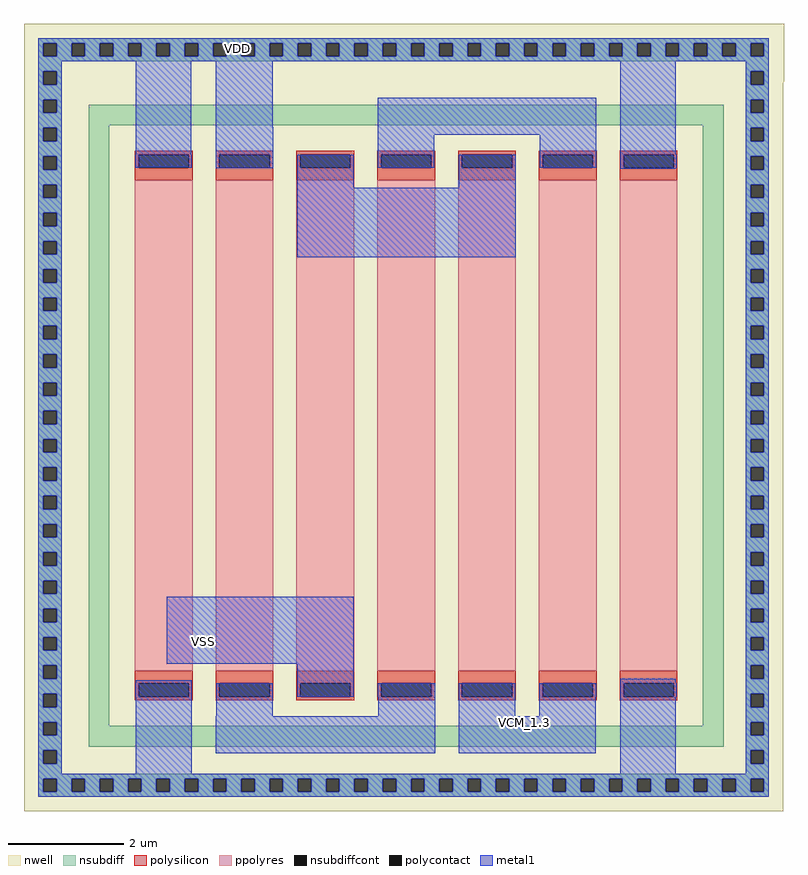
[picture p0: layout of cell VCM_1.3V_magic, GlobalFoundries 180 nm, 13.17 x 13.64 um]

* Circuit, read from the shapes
.subckt VCM_1.3V_magic VDD VSS VCM_1.3
XR1 VDD VDD VSUBS ppolyf_u r_width=1u r_length=8.5u m=2
XR2 VDD n1 VSUBS ppolyf_u r_width=1u r_length=8.5u
XR3 n2 VSS VSUBS ppolyf_u r_width=1u r_length=8.5u
XR4 n3 n1 VSUBS ppolyf_u r_width=1u r_length=8.5u
XR5 n2 VCM_1.3 VSUBS ppolyf_u r_width=1u r_length=8.5u
XR6 n3 VCM_1.3 VSUBS ppolyf_u r_width=1u r_length=8.5u
.ends

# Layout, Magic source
magic
tech gf180mcuC
magscale 1 10
<< nwell >>
rect -320 2207 2313 2408
rect -320 2152 2310 2207
rect -320 -120 -120 2152
rect 2128 -120 2310 2152
rect -320 -320 2310 -120
<< nsubdiff >>
rect -270 2341 2260 2358
rect -270 2295 -253 2341
rect -207 2295 -155 2341
rect -109 2295 -57 2341
rect -11 2295 41 2341
rect 87 2295 139 2341
rect 185 2295 237 2341
rect 283 2295 335 2341
rect 381 2295 433 2341
rect 479 2295 531 2341
rect 577 2295 629 2341
rect 675 2295 727 2341
rect 773 2295 825 2341
rect 871 2295 923 2341
rect 969 2295 1021 2341
rect 1067 2295 1119 2341
rect 1165 2295 1217 2341
rect 1263 2295 1315 2341
rect 1361 2295 1413 2341
rect 1459 2295 1511 2341
rect 1557 2295 1609 2341
rect 1655 2295 1707 2341
rect 1753 2295 1805 2341
rect 1851 2295 1903 2341
rect 1949 2295 2001 2341
rect 2047 2295 2099 2341
rect 2145 2295 2197 2341
rect 2243 2295 2260 2341
rect -270 2278 2260 2295
rect -270 2243 -190 2278
rect -270 2197 -253 2243
rect -207 2197 -190 2243
rect -270 2145 -190 2197
rect -270 2099 -253 2145
rect -207 2099 -190 2145
rect -270 2047 -190 2099
rect -270 2001 -253 2047
rect -207 2001 -190 2047
rect -270 1949 -190 2001
rect -270 1903 -253 1949
rect -207 1903 -190 1949
rect -270 1851 -190 1903
rect -270 1805 -253 1851
rect -207 1805 -190 1851
rect -270 1753 -190 1805
rect -270 1707 -253 1753
rect -207 1707 -190 1753
rect -270 1655 -190 1707
rect -270 1609 -253 1655
rect -207 1609 -190 1655
rect -270 1557 -190 1609
rect -270 1511 -253 1557
rect -207 1511 -190 1557
rect -270 1459 -190 1511
rect -270 1413 -253 1459
rect -207 1413 -190 1459
rect -270 1361 -190 1413
rect -270 1315 -253 1361
rect -207 1315 -190 1361
rect -270 1263 -190 1315
rect -270 1217 -253 1263
rect -207 1217 -190 1263
rect -270 1165 -190 1217
rect -270 1119 -253 1165
rect -207 1119 -190 1165
rect -270 1067 -190 1119
rect -270 1021 -253 1067
rect -207 1021 -190 1067
rect -270 969 -190 1021
rect -270 923 -253 969
rect -207 923 -190 969
rect -270 871 -190 923
rect -270 825 -253 871
rect -207 825 -190 871
rect -270 773 -190 825
rect -270 727 -253 773
rect -207 727 -190 773
rect -270 675 -190 727
rect -270 629 -253 675
rect -207 629 -190 675
rect -270 577 -190 629
rect -270 531 -253 577
rect -207 531 -190 577
rect -270 479 -190 531
rect -270 433 -253 479
rect -207 433 -190 479
rect -270 381 -190 433
rect -270 335 -253 381
rect -207 335 -190 381
rect -270 283 -190 335
rect -270 237 -253 283
rect -207 237 -190 283
rect -270 185 -190 237
rect -270 139 -253 185
rect -207 139 -190 185
rect -270 87 -190 139
rect -270 41 -253 87
rect -207 41 -190 87
rect -270 -11 -190 41
rect -270 -57 -253 -11
rect -207 -57 -190 -11
rect -270 -109 -190 -57
rect -270 -155 -253 -109
rect -207 -155 -190 -109
rect -270 -190 -190 -155
rect 2180 2243 2260 2278
rect 2180 2197 2197 2243
rect 2243 2197 2260 2243
rect 2180 2145 2260 2197
rect 2180 2099 2197 2145
rect 2243 2099 2260 2145
rect 2180 2047 2260 2099
rect 2180 2001 2197 2047
rect 2243 2001 2260 2047
rect 2180 1949 2260 2001
rect 2180 1903 2197 1949
rect 2243 1903 2260 1949
rect 2180 1851 2260 1903
rect 2180 1805 2197 1851
rect 2243 1805 2260 1851
rect 2180 1753 2260 1805
rect 2180 1707 2197 1753
rect 2243 1707 2260 1753
rect 2180 1655 2260 1707
rect 2180 1609 2197 1655
rect 2243 1609 2260 1655
rect 2180 1557 2260 1609
rect 2180 1511 2197 1557
rect 2243 1511 2260 1557
rect 2180 1459 2260 1511
rect 2180 1413 2197 1459
rect 2243 1413 2260 1459
rect 2180 1361 2260 1413
rect 2180 1315 2197 1361
rect 2243 1315 2260 1361
rect 2180 1263 2260 1315
rect 2180 1217 2197 1263
rect 2243 1217 2260 1263
rect 2180 1165 2260 1217
rect 2180 1119 2197 1165
rect 2243 1119 2260 1165
rect 2180 1067 2260 1119
rect 2180 1021 2197 1067
rect 2243 1021 2260 1067
rect 2180 969 2260 1021
rect 2180 923 2197 969
rect 2243 923 2260 969
rect 2180 871 2260 923
rect 2180 825 2197 871
rect 2243 825 2260 871
rect 2180 773 2260 825
rect 2180 727 2197 773
rect 2243 727 2260 773
rect 2180 675 2260 727
rect 2180 629 2197 675
rect 2243 629 2260 675
rect 2180 577 2260 629
rect 2180 531 2197 577
rect 2243 531 2260 577
rect 2180 479 2260 531
rect 2180 433 2197 479
rect 2243 433 2260 479
rect 2180 381 2260 433
rect 2180 335 2197 381
rect 2243 335 2260 381
rect 2180 283 2260 335
rect 2180 237 2197 283
rect 2243 237 2260 283
rect 2180 185 2260 237
rect 2180 139 2197 185
rect 2243 139 2260 185
rect 2180 87 2260 139
rect 2180 41 2197 87
rect 2243 41 2260 87
rect 2180 -11 2260 41
rect 2180 -57 2197 -11
rect 2243 -57 2260 -11
rect 2180 -109 2260 -57
rect 2180 -155 2197 -109
rect 2243 -155 2260 -109
rect 2180 -190 2260 -155
rect -270 -207 2260 -190
rect -270 -253 -253 -207
rect -207 -253 -155 -207
rect -109 -253 -57 -207
rect -11 -253 41 -207
rect 87 -253 139 -207
rect 185 -253 237 -207
rect 283 -253 335 -207
rect 381 -253 433 -207
rect 479 -253 531 -207
rect 577 -253 629 -207
rect 675 -253 727 -207
rect 773 -253 825 -207
rect 871 -253 923 -207
rect 969 -253 1021 -207
rect 1067 -253 1119 -207
rect 1165 -253 1217 -207
rect 1263 -253 1315 -207
rect 1361 -253 1413 -207
rect 1459 -253 1511 -207
rect 1557 -253 1609 -207
rect 1655 -253 1707 -207
rect 1753 -253 1805 -207
rect 1851 -253 1903 -207
rect 1949 -253 2001 -207
rect 2047 -253 2099 -207
rect 2145 -253 2197 -207
rect 2243 -253 2260 -207
rect -270 -270 2260 -253
<< nsubdiffcont >>
rect -253 2295 -207 2341
rect -155 2295 -109 2341
rect -57 2295 -11 2341
rect 41 2295 87 2341
rect 139 2295 185 2341
rect 237 2295 283 2341
rect 335 2295 381 2341
rect 433 2295 479 2341
rect 531 2295 577 2341
rect 629 2295 675 2341
rect 727 2295 773 2341
rect 825 2295 871 2341
rect 923 2295 969 2341
rect 1021 2295 1067 2341
rect 1119 2295 1165 2341
rect 1217 2295 1263 2341
rect 1315 2295 1361 2341
rect 1413 2295 1459 2341
rect 1511 2295 1557 2341
rect 1609 2295 1655 2341
rect 1707 2295 1753 2341
rect 1805 2295 1851 2341
rect 1903 2295 1949 2341
rect 2001 2295 2047 2341
rect 2099 2295 2145 2341
rect 2197 2295 2243 2341
rect -253 2197 -207 2243
rect -253 2099 -207 2145
rect -253 2001 -207 2047
rect -253 1903 -207 1949
rect -253 1805 -207 1851
rect -253 1707 -207 1753
rect -253 1609 -207 1655
rect -253 1511 -207 1557
rect -253 1413 -207 1459
rect -253 1315 -207 1361
rect -253 1217 -207 1263
rect -253 1119 -207 1165
rect -253 1021 -207 1067
rect -253 923 -207 969
rect -253 825 -207 871
rect -253 727 -207 773
rect -253 629 -207 675
rect -253 531 -207 577
rect -253 433 -207 479
rect -253 335 -207 381
rect -253 237 -207 283
rect -253 139 -207 185
rect -253 41 -207 87
rect -253 -57 -207 -11
rect -253 -155 -207 -109
rect 2197 2197 2243 2243
rect 2197 2099 2243 2145
rect 2197 2001 2243 2047
rect 2197 1903 2243 1949
rect 2197 1805 2243 1851
rect 2197 1707 2243 1753
rect 2197 1609 2243 1655
rect 2197 1511 2243 1557
rect 2197 1413 2243 1459
rect 2197 1315 2243 1361
rect 2197 1217 2243 1263
rect 2197 1119 2243 1165
rect 2197 1021 2243 1067
rect 2197 923 2243 969
rect 2197 825 2243 871
rect 2197 727 2243 773
rect 2197 629 2243 675
rect 2197 531 2243 577
rect 2197 433 2243 479
rect 2197 335 2243 381
rect 2197 237 2243 283
rect 2197 139 2243 185
rect 2197 41 2243 87
rect 2197 -57 2243 -11
rect 2197 -155 2243 -109
rect -253 -253 -207 -207
rect -155 -253 -109 -207
rect -57 -253 -11 -207
rect 41 -253 87 -207
rect 139 -253 185 -207
rect 237 -253 283 -207
rect 335 -253 381 -207
rect 433 -253 479 -207
rect 531 -253 577 -207
rect 629 -253 675 -207
rect 727 -253 773 -207
rect 825 -253 871 -207
rect 923 -253 969 -207
rect 1021 -253 1067 -207
rect 1119 -253 1165 -207
rect 1217 -253 1263 -207
rect 1315 -253 1361 -207
rect 1413 -253 1459 -207
rect 1511 -253 1557 -207
rect 1609 -253 1655 -207
rect 1707 -253 1753 -207
rect 1805 -253 1851 -207
rect 1903 -253 1949 -207
rect 2001 -253 2047 -207
rect 2099 -253 2145 -207
rect 2197 -253 2243 -207
<< metal1 >>
rect -270 2341 2260 2358
rect -270 2295 -253 2341
rect -207 2295 -155 2341
rect -109 2295 -57 2341
rect -11 2295 41 2341
rect 87 2295 139 2341
rect 185 2295 237 2341
rect 283 2295 335 2341
rect 381 2295 433 2341
rect 479 2295 531 2341
rect 577 2295 629 2341
rect 675 2295 727 2341
rect 773 2295 825 2341
rect 871 2295 923 2341
rect 969 2295 1021 2341
rect 1067 2295 1119 2341
rect 1165 2295 1217 2341
rect 1263 2295 1315 2341
rect 1361 2295 1413 2341
rect 1459 2295 1511 2341
rect 1557 2295 1609 2341
rect 1655 2295 1707 2341
rect 1753 2295 1805 2341
rect 1851 2295 1903 2341
rect 1949 2295 2001 2341
rect 2047 2295 2099 2341
rect 2145 2295 2197 2341
rect 2243 2295 2260 2341
rect -270 2278 2260 2295
rect -270 2243 -190 2278
rect -270 2197 -253 2243
rect -207 2197 -190 2243
rect -270 2145 -190 2197
rect -270 2099 -253 2145
rect -207 2099 -190 2145
rect -270 2047 -190 2099
rect -270 2001 -253 2047
rect -207 2001 -190 2047
rect -270 1949 -190 2001
rect -270 1903 -253 1949
rect -207 1903 -190 1949
rect 67 1911 260 2278
rect 345 2052 542 2278
rect 345 1908 544 2052
rect 905 2023 1662 2152
rect -270 1851 -190 1903
rect -270 1805 -253 1851
rect -207 1805 -190 1851
rect 627 1840 823 1954
rect 906 1909 1102 2023
rect 1187 1840 1383 1954
rect 1466 1909 1662 2023
rect 1745 1906 1938 2278
rect 2180 2243 2260 2278
rect 2180 2197 2197 2243
rect 2243 2197 2260 2243
rect 2180 2145 2260 2197
rect 2180 2099 2197 2145
rect 2243 2099 2260 2145
rect 2180 2047 2260 2099
rect 2180 2001 2197 2047
rect 2243 2001 2260 2047
rect 2180 1949 2260 2001
rect -270 1753 -190 1805
rect -270 1707 -253 1753
rect -207 1707 -190 1753
rect -270 1655 -190 1707
rect -270 1609 -253 1655
rect -207 1609 -190 1655
rect -270 1557 -190 1609
rect 626 1599 1383 1840
rect 2180 1903 2197 1949
rect 2243 1903 2260 1949
rect 2180 1851 2260 1903
rect 2180 1805 2197 1851
rect 2243 1805 2260 1851
rect 2180 1753 2260 1805
rect 2180 1707 2197 1753
rect 2243 1707 2260 1753
rect 2180 1655 2260 1707
rect 2180 1609 2197 1655
rect 2243 1609 2260 1655
rect -270 1511 -253 1557
rect -207 1511 -190 1557
rect -270 1459 -190 1511
rect -270 1413 -253 1459
rect -207 1413 -190 1459
rect -270 1361 -190 1413
rect -270 1315 -253 1361
rect -207 1315 -190 1361
rect -270 1263 -190 1315
rect -270 1217 -253 1263
rect -207 1217 -190 1263
rect -270 1165 -190 1217
rect -270 1119 -253 1165
rect -207 1119 -190 1165
rect -270 1067 -190 1119
rect -270 1021 -253 1067
rect -207 1021 -190 1067
rect -270 969 -190 1021
rect -270 923 -253 969
rect -207 923 -190 969
rect -270 871 -190 923
rect -270 825 -253 871
rect -207 825 -190 871
rect -270 773 -190 825
rect -270 727 -253 773
rect -207 727 -190 773
rect -270 675 -190 727
rect -270 629 -253 675
rect -207 629 -190 675
rect -270 577 -190 629
rect -270 531 -253 577
rect -207 531 -190 577
rect -270 479 -190 531
rect -270 433 -253 479
rect -207 433 -190 479
rect -270 381 -190 433
rect 2180 1557 2260 1609
rect 2180 1511 2197 1557
rect 2243 1511 2260 1557
rect 2180 1459 2260 1511
rect 2180 1413 2197 1459
rect 2243 1413 2260 1459
rect 2180 1361 2260 1413
rect 2180 1315 2197 1361
rect 2243 1315 2260 1361
rect 2180 1263 2260 1315
rect 2180 1217 2197 1263
rect 2243 1217 2260 1263
rect 2180 1165 2260 1217
rect 2180 1119 2197 1165
rect 2243 1119 2260 1165
rect 2180 1067 2260 1119
rect 2180 1021 2197 1067
rect 2243 1021 2260 1067
rect 2180 969 2260 1021
rect 2180 923 2197 969
rect 2243 923 2260 969
rect 2180 871 2260 923
rect 2180 825 2197 871
rect 2243 825 2260 871
rect 2180 773 2260 825
rect 2180 727 2197 773
rect 2243 727 2260 773
rect 2180 675 2260 727
rect 2180 629 2197 675
rect 2243 629 2260 675
rect 2180 577 2260 629
rect 2180 531 2197 577
rect 2243 531 2260 577
rect 2180 479 2260 531
rect 2180 433 2197 479
rect 2243 433 2260 479
rect -270 335 -253 381
rect -207 335 -190 381
rect -270 283 -190 335
rect -270 237 -253 283
rect -207 237 -190 283
rect -270 185 -190 237
rect 175 191 822 423
rect -270 139 -253 185
rect -207 139 -190 185
rect -270 87 -190 139
rect -270 41 -253 87
rect -207 41 -190 87
rect -270 -11 -190 41
rect -270 -57 -253 -11
rect -207 -57 -190 -11
rect -270 -109 -190 -57
rect -270 -155 -253 -109
rect -207 -155 -190 -109
rect -270 -190 -190 -155
rect 68 -190 261 134
rect 346 9 542 123
rect 626 77 822 191
rect 2180 381 2260 433
rect 2180 335 2197 381
rect 2243 335 2260 381
rect 2180 283 2260 335
rect 2180 237 2197 283
rect 2243 237 2260 283
rect 2180 185 2260 237
rect 2180 139 2197 185
rect 2243 139 2260 185
rect 908 9 1104 123
rect 345 -120 1104 9
rect 1186 9 1382 123
rect 1465 9 1661 123
rect 1186 -120 1661 9
rect 1745 -190 1938 139
rect 2180 87 2260 139
rect 2180 41 2197 87
rect 2243 41 2260 87
rect 2180 -11 2260 41
rect 2180 -57 2197 -11
rect 2243 -57 2260 -11
rect 2180 -109 2260 -57
rect 2180 -155 2197 -109
rect 2243 -155 2260 -109
rect 2180 -190 2260 -155
rect -270 -207 2260 -190
rect -270 -253 -253 -207
rect -207 -253 -155 -207
rect -109 -253 -57 -207
rect -11 -253 41 -207
rect 87 -253 139 -207
rect 185 -253 237 -207
rect 283 -253 335 -207
rect 381 -253 433 -207
rect 479 -253 531 -207
rect 577 -253 629 -207
rect 675 -253 727 -207
rect 773 -253 825 -207
rect 871 -253 923 -207
rect 969 -253 1021 -207
rect 1067 -253 1119 -207
rect 1165 -253 1217 -207
rect 1263 -253 1315 -207
rect 1361 -253 1413 -207
rect 1459 -253 1511 -207
rect 1557 -253 1609 -207
rect 1655 -253 1707 -207
rect 1753 -253 1805 -207
rect 1851 -253 1903 -207
rect 1949 -253 2001 -207
rect 2047 -253 2099 -207
rect 2145 -253 2197 -207
rect 2243 -253 2260 -207
rect -270 -270 2260 -253
use ppolyf_u_3VY3SR  ppolyf_u_3VY3SR_0
transform 1 0 1004 0 1 1016
box -1124 -1136 1124 1136
<< labels >>
flabel metal1 418 2323 418 2323 0 FreeSans 1600 0 0 0 VDD
port 0 nsew
flabel metal1 301 267 301 267 0 FreeSans 1600 0 0 0 VSS
port 1 nsew
flabel metal1 1414 -11 1414 -11 0 FreeSans 800 0 0 0 VCM_1.3
port 4 nsew
<< end >>

# cell ppolyf_u_3VY3SR: kit device ppolyf_u, w 1.0 l 8.5 m 1 nx 7 wmin 0.80 lmin 1.00 rho 315 val 2.879k dummy 0 dw 0.07 term 0.0 sterm 0.0 caplen 0.4 snake 0 glc 0 grc 0 gtc 0 gbc 0 roverlap 0 endcov 100 full_metal 0
